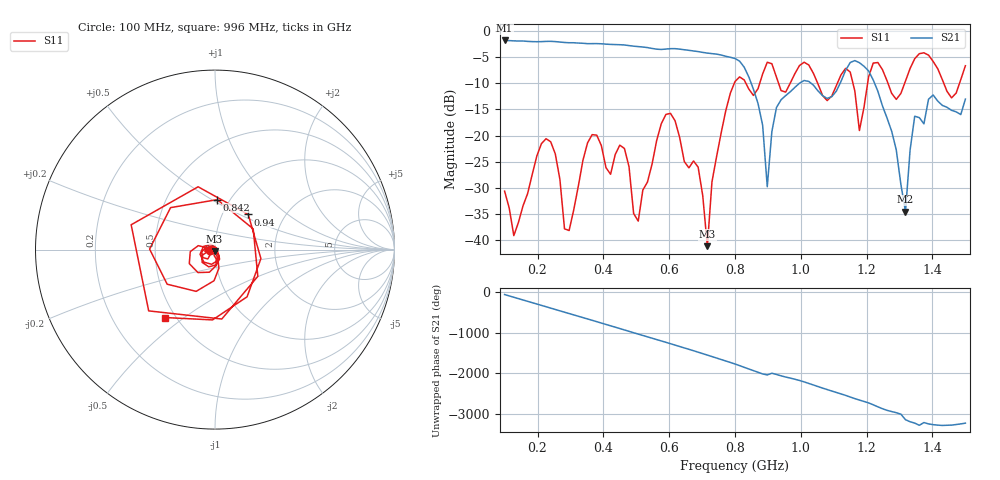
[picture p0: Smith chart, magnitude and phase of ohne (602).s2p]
! NanoVNA-App
! Date: 2025-09-25 14:25:29
! Start: 100MHz Stop: 1,5GHz Points: 101
! S-Parameter data: F S11 S21 S12 S22
# Hz S RI R 50
!  Frequency  S11_Real  S11_Imag  S21_Real  S21_Imag  S12_Real  S12_Imag  S22_Real  S22_Imag
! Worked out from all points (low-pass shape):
!   101 points, 100 MHz to 1.5 GHz, reference 50 ohm
!   highest |S21| = -1.79 dB at 100 MHz (marker M1); lowest = -34.6 dB at 1.318 GHz (marker M2)
!   |S21| within 3 dB of the highest: start of sweep to 770.2 MHz
!   lowest |S11| = -41.2 dB at 716 MHz (marker M3), VSWR 1.02, Z = 49.7 - j0.833 ohm
!   |S11| at or under -10 dB: start of sweep to 797.8 MHz; 833.2 MHz to 875.1 MHz (41.88 MHz wide, 4.9 % of centre); 1.051 GHz to 1.111 GHz (59.54 MHz wide, 5.51 % of centre) (the widest 3 of 7)
!   S12 and S22 are empty: the file has one direction only
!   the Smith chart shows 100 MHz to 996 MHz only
!   S11 on the Smith chart (normalised r, x): 100 MHz: 0.94, -0.01; 842 MHz: 0.88, +0.53; 940 MHz: 1.32, +0.56; 996 MHz: 0.44, -0.43
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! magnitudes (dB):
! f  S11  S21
! 100 MHz  -30.6  -1.8
! 128 MHz  -39.1  -1.9
! 226 MHz  -20.6  -2.0
! 296 MHz  -38.2  -2.2
! 338 MHz  -24.7  -2.3
! 464 MHz  -22.5  -2.7
! 506 MHz  -36.4  -3.0
! 576 MHz  -17.7  -3.5
! 688 MHz  -26.0  -3.9
! 716 MHz  -41.2  -4.2
! 800 MHz  -9.7  -5.2
! 842 MHz  -11.1  -8.8
! 898 MHz  -6.0  -29.8
! 940 MHz  -11.4  -13.1
! 996 MHz  -6.6  -10.0
! 1.038 GHz  -8.1  -10.3
! 1.178 GHz  -19.0  -6.1
! 1.22 GHz  -6.1  -9.4
! 1.276 GHz  -11.9  -19.2
! 1.318 GHz  -9.6  -34.6
! 1.346 GHz  -5.3  -16.3
! 1.5 GHz  -6.6  -13.0
